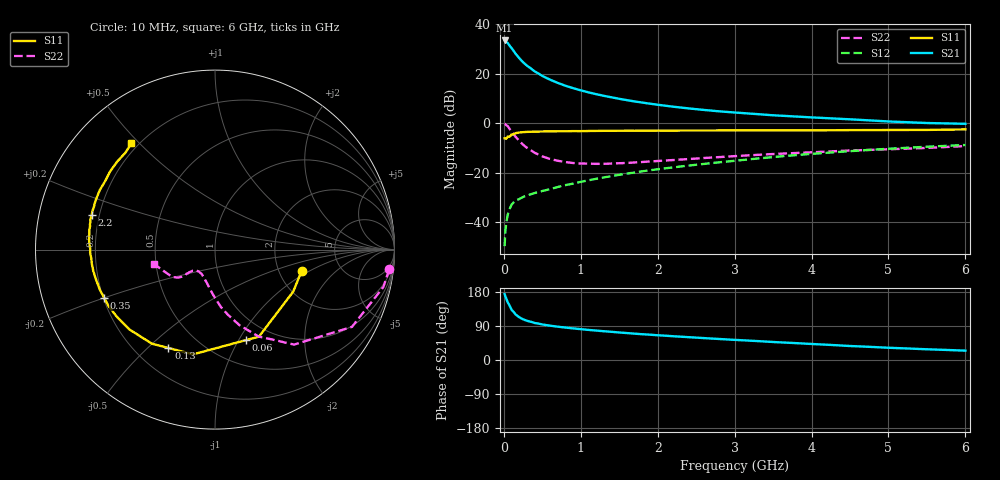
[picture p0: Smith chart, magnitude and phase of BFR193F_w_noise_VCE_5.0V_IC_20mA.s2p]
! Infineon Technologies  Discrete & RF Semiconductors
! BFR193F
! VCE =  5.0 V,  IC =  20 mA
! Common Emitter S-Parameters:  Jan 2017
# GHz  S  MA  R  50
!  f  S11  S21  S12  S22
! GHz  MAG  ANG  MAG  ANG  MAG  ANG  MAG  ANG
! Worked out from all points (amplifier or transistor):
!   77 points, 10 MHz to 6 GHz, reference 50 ohm
!   highest |S21| = 33.5 dB at 10 MHz (marker M1)
!   |S21| within 3 dB of that: start of sweep to 97.9 MHz
!   unconditionally stable (mu >= 1): 1.309 GHz to 2.772 GHz
!   at 130 MHz: K = 0.29, MSG = 30.5 dB, |S12| = -31.8 dB
!   at 2.2 GHz: K = 1.03, MAG = 11.3 dB, |S12| = -17.8 dB
!   at 6 GHz: K = 0.84, MSG = 4.3 dB, |S12| = -8.8 dB
!   lowest NFmin = 1.04 dB at 450 MHz
!   S11 on the Smith chart (normalised r, x): 10 MHz: 2.68, -0.84; 60 MHz: 0.76, -1.07; 130 MHz: 0.34, -0.58; 350 MHz: 0.20, -0.20; 2.2 GHz: 0.17, +0.13; 6 GHz: 0.17, +0.47
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0.01  0.4977 -13.6  47.15 174.2  0.0033 87.7  0.9771 -6.4
0.02  0.4946 -28.3  46.04 167.9  0.0067 80.8  0.9611 -12.5
0.05  0.5433 -63.2  42.13 152.1  0.0142 66.5  0.8764 -29.4
0.06  0.533 -71.2  40 148.9  0.0159 63.4  0.8313 -32.8
0.1  0.5962 -101.8  33.08 132.5  0.0228 55.6  0.6888 -50.2
0.13  0.6064 -115.3  28.55 126.1  0.0256 50.5  0.5963 -57.3
0.15  0.6311 -123.8  25.77 120.7  0.0275 47.7  0.5413 -63.4
0.2  0.6522 -137.0  20.73 112.8  0.0295 45.5  0.4421 -72.1
0.25  0.6633 -146.0  17.13 107.5  0.0325 45.3  0.3689 -78.9
0.3  0.6714 -152.3  14.61 103.5  0.0349 46.1  0.3208 -84.2
0.35  0.6735 -156.6  12.89 101.0  0.0369 47.0  0.2868 -87.7
0.4  0.6794 -160.8  11.2 97.7  0.039 47.8  0.2541 -92.1
0.5  0.684 -166.2  9.069 93.8  0.0429 50.9  0.215 -98.5
0.6  0.6884 -170.1  7.615 90.6  0.0468 54.3  0.1904 -103.9
0.8  0.6908 -176.0  5.748 85.6  0.0564 58.6  0.1648 -113.2
1.1  0.6996 177.8  4.219 79.4  0.0706 63.3  0.1534 -122.6
2.1  0.7137 165.4  2.269 64.1  0.1233 69.3  0.1772 -137.2
2.2  0.7132 164.4  2.167 62.7  0.1287 69.4  0.1812 -137.6
3.1  0.7198 156.3  1.612 52.1  0.1813 69.9  0.2217 -139.6
4.1  0.7222 147.2  1.294 41.3  0.2477 67.4  0.2641 -143.9
5.1  0.7329 136.9  1.074 31.5  0.3121 62.4  0.3028 -155.2
6  0.7537 128.2  0.978 24.7  0.365 57.2  0.3476 -166.5
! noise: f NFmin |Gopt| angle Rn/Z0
0.45  1.04  0.33  168  0.06
0.9  1.12  0.39  169  0.07
1.9  1.71  0.57  -171  0.06
2.4  2.01  0.61  -161  0.1
